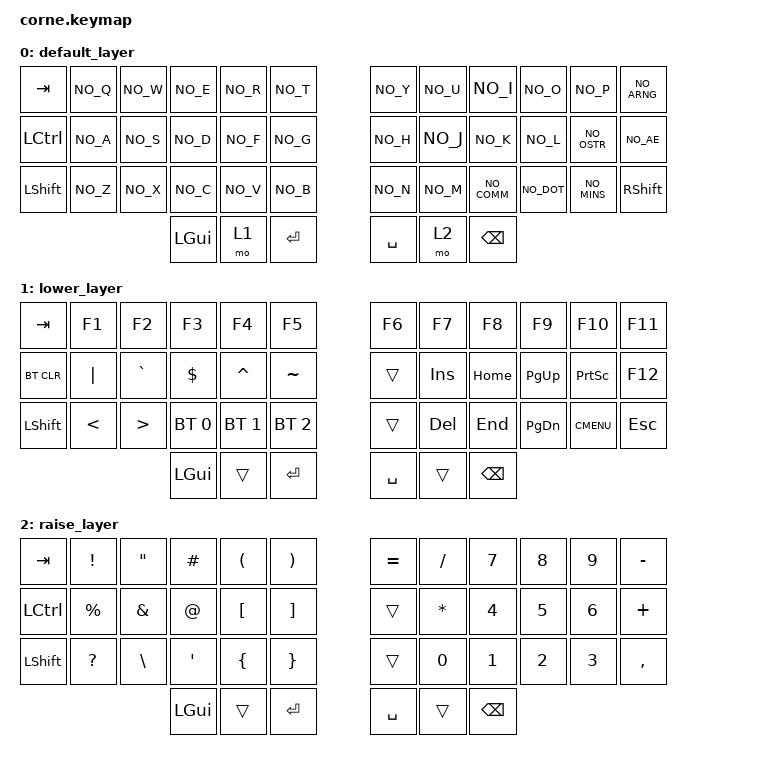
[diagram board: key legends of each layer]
/*
 * Copyright (c) 2020 The ZMK Contributors
 *
 * SPDX-License-Identifier: MIT
 *
 * @bzgec : isyatsyso
 ***************************************************************************************************
 * norwegian qwerty in base, with persnal flavour for add layers
 ***************************************************************************************************
 * Host layout: SI *
 ***************************************************************************************************
 * ZMK layer: (note: maybe)
 ***************************************************************************************************
 *  +--------+--------+--------+--------+--------+--------+             +--------+--------+--------+--------+--------+--------+
 *  | XXX    | BT 0   | BT 1   | BT 2   | BT 3   | BT 4   |             |        |        |        |        |        |        |
 *  +--------+--------+--------+--------+--------+--------+             +--------+--------+--------+--------+--------+--------+
 *  |        | BT CLR |        | EP ON  | EP OFF | Reset  |             |        | To SI  | To SI  | To AoE |        |        |
 *  |        |        |        |        |        |        |             |        | Linux  | Win    |        |        |        |
 *  +--------+--------+--------+--------+--------+--------+             +--------+--------+--------+--------+--------+--------+
 *  |        |        |        |        |        | Bootl  |             |        |        |        |        |        |        |
 *  +--------+--------+--------+----+---+----+---+----+---+----+   +----+---+----+---+----+---+----+--------+--------+--------+
 *                                  |        |        |        |   |        |        |        |
 *                                  +--------+--------+--------+   +--------+--------+--------+
 *
 * - `BT 0-4`: Select the x bluetooth profile
 * - `BT CLR`: Clear bond between the keyboard and the host for the selected profile
 * - `Reset`: Reset this side of the keyboard
 * - `Bootl`: Reset this side of the keyboard to bootloader mode
 * - `EP ON`: Enable external power (enable VCC power output)
 * - `To SI Linux`: Switch keyboard layout to match SI host layout, Linux host
 * - `To SI Win`: Switch keyboard layout to match SI host layout, Windows host
 * - `EP OFF`: Disable external power (disable VCC power output)
 *
 * - Difference between "SI Linux" and "SI Windows" is in how a few special characters
 *   are implemented but for the end use there should be no difference
 *
 *   - `no_n6_lin`    -> `no_n6_win` (`^`)
 *   - `no_grave_lin` -> `no_grave_win` (`\``, `~`)
 *
 ***************************************************************************************************
 */

#include <behaviors.dtsi>
#include <dt-bindings/zmk/keys.h>
#include <dt-bindings/zmk/bt.h>
#include "./keys_no.h"


#define xxx &none
#define ___ &trans

// https://zmk.dev/docs/features/debouncing
&kscan0 {
    debounce-press-ms = <3>;    // Default is 5 ms
    debounce-release-ms = <4>;  // Default is 5 ms
};


/ {


    keymap {
        compatible = "zmk,keymap";
                default_layer {	
                        bindings = <
// |---------|---------|---------|---------|---------|---------|----|---------|---------|--------__-|---------|--------__-|---------|
// |   TAB   |   Q     |   W     |   E     |   R     |   T     |    |   Y     |   U     |   I       |   O     |   P       |   Å     |
   &kp TAB   &kp NO_Q  &kp NO_W  &kp NO_E  &kp NO_R  &kp NO_T       &kp NO_Y  &kp NO_U  &kp NO_I    &kp NO_O  &kp NO_P    &kp NO_ARNG
// |    CTRL |   A     |   S     |   D     |   F     |   G     |    |   H     |   J     |   K       |   L     |   Ø       |   Æ     |
   &kp LCTRL &kp NO_A  &kp NO_S  &kp NO_D  &kp NO_F  &kp NO_G       &kp NO_H  &kp NO_J  &kp NO_K    &kp NO_L  &kp NO_OSTR &kp NO_AE
// |    SHFT |   Z     |   X     |   C     |   V     |   B     |    |   N     |   M     |   ,       |   .     |   -       |   RSHFT |
   &kp LSHFT &kp NO_Z  &kp NO_X  &kp NO_C  &kp NO_V  &kp NO_B       &kp NO_N  &kp NO_M  &kp NO_COMM &kp NO_DOT   &kp NO_MINS &kp RSHFT
//                                     |    GUI |       |   ENT |   |    SPC  |       |   BSPC |
                                       &kp LGUI &mo 1   &kp RET     &kp SPACE &mo 2   &kp BSPC
                        >;
                };
                lower_layer {
                        bindings = <
// |---------_|---------|---------|---------|---------|---------|----_---|---------|---------|---------|---------|---------_-|---------|
// |   TAB    |   F1    |   F2    |   F3    |   F4    |   F5    |        |   F6    |   F7    |   F8    |   F9    |   F10     |   F11   |
   &kp TAB    &kp F1    &kp F2    &kp F3    &kp F4    &kp F5             &kp F6    &kp F7    &kp F8    &kp F9    &kp F10     &kp F11
// | BTCLR    |   "|"   |    `    |   $     |   ^     |   ~     |        |         |   INS   |   HM    |   PUp   |   PrS     |   F12   |
   &bt BT_CLR &kp PIPE  &kp GRAVE &kp DLLR  &kp CARET &kp TILDE             ___    &kp INS   &kp HOME  &kp PG_UP &kp PSCRN   &kp F12
// |   SHFT   |   <     |   >     |   BT1   |   BT2   |   BT3   |        |         |   DEL   |   END   |   PDw   |   CNT     |   ESC   |
   &kp LSHFT  &kp LT    &kp GT    &bt BT_SEL 0 &bt BT_SEL 1 &bt BT_SEL 2    ___    &kp DEL   &kp END   &kp PG_DN &kp K_CMENU &kp ESC
//                    |    GUI |      |   ENT |   |    SPC  |      |   BSPC |
                      &kp LGUI   ___  &kp RET     &kp SPACE   ___  &kp BSPC
                        >;
                };
                raise_layer {
                        bindings = <
// |---------|---------|---------|---------|---------|---------|----|---------|---------|---------|---------|---------|---------|
// |    TAB  |   !     |  "      |   #     |   (     |   )     |    |   =     |   /     |   7     |   8     |    9    |   -     |
   &kp  TAB  &kp EXCL  &kp DQT   &kp HASH  &kp LPAR  &kp RPAR       &kp EQUAL &kp FSLH  &kp N7    &kp N8    &kp  N9   &kp MINUS
// |    CTRL |   %     |   &     |   @     |   [     |   ]     |    |         |   *     |   4     |   5     |    6    |   +     |
   &kp LCTRL &kp PRCNT &kp AMPS  &kp AT    &kp LBKT  &kp RBKT           ___   &kp STAR  &kp N4    &kp N5    &kp  N6   &kp PLUS
// |    SHFT |   ?     |   \     |   '     |   {     |   }     |    |         |   0     |   1     |   2     |    3    |   ,     |
   &kp LSHFT &kp QMARK &kp BSLH  &kp SQT   &kp LBRC  &kp RBRC           ___   &kp N0    &kp N1    &kp N2    &kp N3    &kp COMMA
//                    |    GUI |      |   ENT |   |    SPC  |      |   BSPC |
                      &kp LGUI   ___  &kp RET     &kp SPACE   ___  &kp BSPC
                        >;
                };

    };
};
